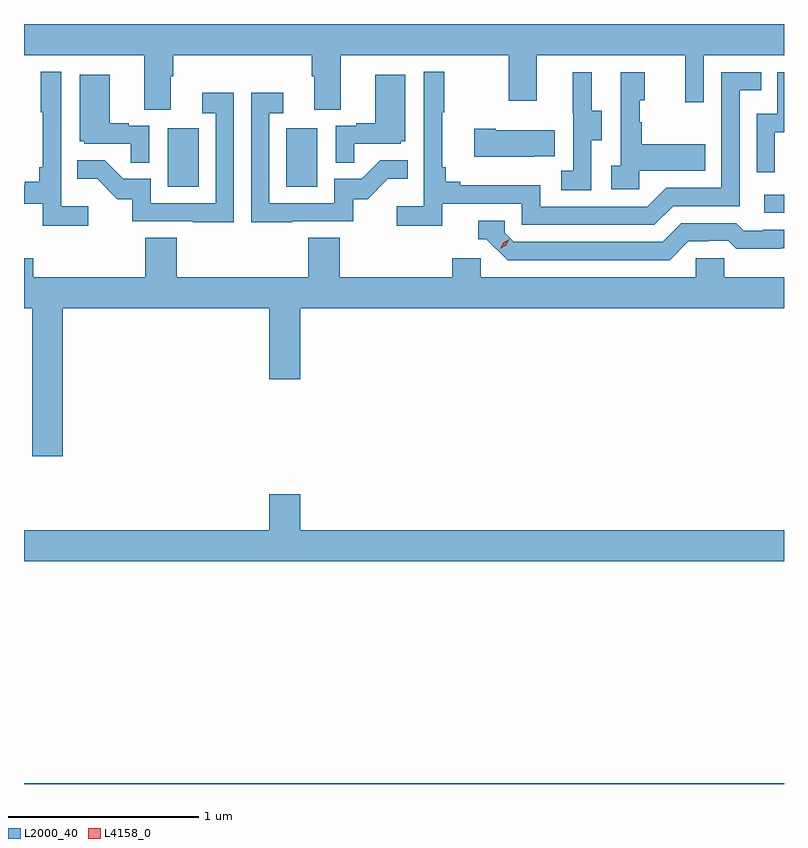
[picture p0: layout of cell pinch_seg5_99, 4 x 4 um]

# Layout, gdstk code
import gdstk
lib = gdstk.Library(unit=1e-6, precision=1e-09)
def R(c, l, rs):  # rectangles x0, y0, x1, y1
    for r in rs: c.add(gdstk.rectangle(r[:2], r[2:], *l))
def P(c, l, *ps):  # polygons
    for p in ps: c.add(gdstk.Polygon(p, *l))
L2000_40 = (2000, 40)
L4158_0 = (4158, 0)

pinch_seg5_99 = lib.new_cell('pinch_seg5_99')
R(pinch_seg5_99, L2000_40, [(1038.842,884.892,1042.842,884.896), (1042.737,887.898,1042.842,887.994), (1039.598,888.036,1039.762,888.343), (1040.222,888.036,1040.386,888.343)])
P(pinch_seg5_99, L2000_40, [(1039.615,888.616),(1039.628,888.616),(1039.628,888.728),(1040.357,888.728),(1040.357,888.616),(1040.369,888.616),(1040.369,888.442),(1040.509,888.442),(1040.509,888.728),(1041.394,888.728),(1041.394,888.489),(1041.541,888.489),(1041.541,888.728),(1042.322,888.728),(1042.322,888.48),(1042.419,888.48),(1042.419,888.728),(1042.842,888.728),(1042.842,888.892),(1038.842,888.892),(1038.842,888.728),(1039.475,888.728),(1039.475,888.442),(1039.615,888.442)],
  [(1039.18,887.932),(1039.038,887.932),(1039.038,888.64),(1038.93,888.64),(1038.93,888.427),(1038.941,888.427),(1038.941,888.139),(1038.922,888.139),(1038.922,888.062),(1038.845,888.062),(1038.845,888.043),(1038.842,888.043),(1038.842,887.946),(1038.941,887.946),(1038.941,887.83),(1039.18,887.83)],
  [(1041.044,887.946),(1041.462,887.946),(1041.462,887.835),(1042.159,887.835),(1042.258,887.934),(1042.608,887.934),(1042.608,888.543),(1042.721,888.543),(1042.721,888.639),(1042.512,888.639),(1042.512,888.03),(1042.221,888.03),(1042.122,887.931),(1041.558,887.931),(1041.558,888.043),(1041.139,888.043),(1041.139,888.062),(1041.062,888.062),(1041.062,888.139),(1041.043,888.139),(1041.043,888.427),(1041.055,888.427),(1041.055,888.64),(1040.946,888.64),(1040.946,887.932),(1040.805,887.932),(1040.805,887.83),(1041.044,887.83)],
  [(1042.794,888.323),(1042.842,888.323),(1042.842,888.639),(1042.806,888.639),(1042.806,888.42),(1042.698,888.42),(1042.698,888.111),(1042.794,888.111)],
  [(1041.828,888.28),(1041.883,888.28),(1041.883,888.435),(1041.829,888.435),(1041.829,888.637),(1041.731,888.637),(1041.731,888.423),(1041.732,888.423),(1041.732,888.119),(1041.669,888.119),(1041.669,888.016),(1041.828,888.016)],
  [(1042.08,888.119),(1042.427,888.119),(1042.427,888.259),(1042.093,888.259),(1042.093,888.374),(1042.083,888.374),(1042.083,888.492),(1042.108,888.492),(1042.108,888.637),(1041.984,888.637),(1041.984,888.146),(1041.933,888.146),(1041.933,888.021),(1042.08,888.021)],
  [(1039.5,888.357),(1039.394,888.357),(1039.394,888.37),(1039.294,888.37),(1039.294,888.625),(1039.136,888.625),(1039.136,888.276),(1039.158,888.276),(1039.158,888.261),(1039.405,888.261),(1039.405,888.163),(1039.5,888.163)],
  [(1040.579,888.261),(1040.826,888.261),(1040.826,888.276),(1040.848,888.276),(1040.848,888.625),(1040.69,888.625),(1040.69,888.37),(1040.591,888.37),(1040.591,888.357),(1040.484,888.357),(1040.484,888.163),(1040.579,888.163)],
  [(1040.255,887.853),(1040.574,887.853),(1040.574,887.97),(1040.65,887.97),(1040.757,888.077),(1040.861,888.077),(1040.861,888.176),(1040.717,888.176),(1040.619,888.078),(1040.475,888.078),(1040.475,887.949),(1040.133,887.949),(1040.133,888.423),(1040.206,888.423),(1040.206,888.529),(1040.037,888.529),(1040.037,887.848),(1040.255,887.848)],
  [(1039.947,888.529),(1039.779,888.529),(1039.779,888.423),(1039.851,888.423),(1039.851,887.949),(1039.509,887.949),(1039.509,888.078),(1039.365,888.078),(1039.267,888.176),(1039.123,888.176),(1039.123,888.077),(1039.227,888.077),(1039.334,887.97),(1039.411,887.97),(1039.411,887.853),(1039.729,887.853),(1039.729,887.848),(1039.947,887.848)],
  [(1041.527,888.197),(1041.635,888.197),(1041.635,888.334),(1041.325,888.334),(1041.325,888.342),(1041.213,888.342),(1041.213,888.194),(1041.527,888.194)],
  [(1042.339,887.748),(1042.446,887.748),(1042.446,887.751),(1042.549,887.751),(1042.591,887.709),(1042.824,887.709),(1042.824,887.711),(1042.842,887.711),(1042.842,887.808),(1042.729,887.808),(1042.729,887.805),(1042.63,887.805),(1042.591,887.844),(1042.302,887.844),(1042.203,887.745),(1041.42,887.745),(1041.372,887.793),(1041.372,887.856),(1041.233,887.856),(1041.233,887.76),(1041.276,887.76),(1041.387,887.649),(1042.24,887.649)],
  [(1039.046,887.396),(1040.132,887.396),(1040.132,887.022),(1040.296,887.022),(1040.296,887.396),(1042.842,887.396),(1042.842,887.56),(1042.527,887.56),(1042.527,887.658),(1042.377,887.658),(1042.377,887.56),(1041.246,887.56),(1041.246,887.658),(1041.095,887.658),(1041.095,887.56),(1040.504,887.56),(1040.504,887.768),(1040.339,887.768),(1040.339,887.56),(1039.646,887.56),(1039.646,887.768),(1039.481,887.768),(1039.481,887.56),(1038.89,887.56),(1038.89,887.658),(1038.842,887.658),(1038.842,887.396),(1038.886,887.396),(1038.886,886.617),(1039.046,886.617)],
  [(1042.842,886.228),(1040.296,886.228),(1040.296,886.417),(1040.132,886.417),(1040.132,886.228),(1038.842,886.228),(1038.842,886.064),(1042.842,886.064)])
P(pinch_seg5_99, L4158_0, [(1041.348,887.708),(1041.348,887.708),(1041.365,887.74),(1041.396,887.759),(1041.396,887.759),(1041.396,887.759),(1041.379,887.727),(1041.348,887.708)])

lib.write_gds('pinch_seg5_99.gds')
